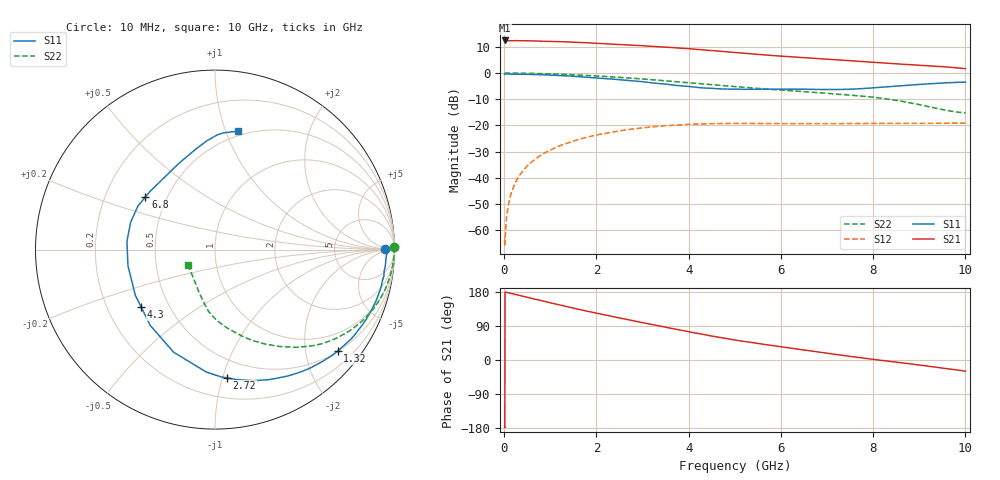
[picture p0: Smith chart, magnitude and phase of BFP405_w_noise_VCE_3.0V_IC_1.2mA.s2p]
! Infineon Technologies  Discrete & RF Semiconductors
! BFP405
! VCE =  3.0 V,  IC =  1.2 mA
! Common Emitter S-Parameters:  Jan 2016
# GHz  S  MA  R  50
!  f  S11  S21  S12  S22
! GHz  MAG  ANG  MAG  ANG  MAG  ANG  MAG  ANG
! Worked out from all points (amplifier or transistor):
!   233 points, 10 MHz to 10 GHz, reference 50 ohm
!   highest |S21| = 12.4 dB at 10 MHz (marker M1)
!   |S21| within 3 dB of that: start of sweep to 3.871 GHz
!   unconditionally stable (mu >= 1): 5.059 GHz to end of sweep
!   at 200 MHz: K = 0.02, MSG = 28.0 dB, |S12| = -43.6 dB
!   at 1.74 GHz: K = 0.22, MSG = 18.2 dB, |S12| = -24.7 dB
!   at 10 GHz: K = 1.93, MAG = 4.8 dB, |S12| = -19.1 dB
!   lowest NFmin = 0.75 dB at 900 MHz
!   S11 on the Smith chart (normalised r, x): 10 MHz: 37, +1; 1.32 GHz: 0.51, -2.69; 2.72 GHz: 0.35, -1.04; 4.3 GHz: 0.35, -0.31; 6.8 GHz: 0.38, +0.29; 10 GHz: 0.46, +1.11
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0.01  0.9477 0.1  4.178 -176.9  0.0007 -1.9  1 0.7
0.015  0.9535 -0.1  4.143 -178.9  0.0005 29.6  0.9976 0.5
0.02  0.9594 -0.3  4.114 179.1  0.0006 67.2  0.9953 0.2
0.025  0.9589 -0.5  4.111 179.1  0.0008 75.1  0.9958 0.1
0.055  0.9561 -1.6  4.097 178.6  0.0019 89.0  0.9984 -0.6
0.12  0.9537 -3.5  4.125 176.4  0.004 88.0  0.998 -1.9
0.32  0.9508 -9.5  4.122 170.8  0.0108 85.1  0.9947 -5.0
0.8  0.9298 -23.9  4.072 156.8  0.0273 77.4  0.9753 -12.7
1.32  0.8867 -39.6  3.935 141.9  0.0448 68.1  0.9409 -20.8
1.68  0.8474 -50.9  3.816 132.0  0.0562 61.6  0.91 -26.0
2.2  0.7846 -67.5  3.617 118.5  0.0712 52.4  0.8592 -33.2
2.72  0.7181 -84.6  3.418 105.5  0.0843 43.4  0.8029 -40.2
3.4  0.625 -108.1  3.155 88.9  0.0973 31.8  0.7213 -48.8
4  0.5555 -130.5  2.915 74.4  0.1051 22.5  0.6499 -56.2
4.3  0.5214 -142.0  2.768 67.9  0.1069 18.2  0.6168 -59.6
4.5  0.5115 -150.3  2.692 63.2  0.1085 15.4  0.5961 -62.0
5.1  0.4902 -172.6  2.424 51.0  0.1095 8.3  0.5403 -68.4
6  0.4941 162.1  2.102 34.9  0.1085 0.4  0.4735 -76.5
6.8  0.4861 143.0  1.883 21.3  0.1082 -4.5  0.422 -84.0
7.6  0.4956 122.4  1.686 8.0  0.109 -8.8  0.3729 -91.7
8.4  0.5542 104.0  1.517 -4.2  0.1096 -12.9  0.3109 -100.6
10  0.6726 78.9  1.212 -29.4  0.111 -18.7  0.1738 -149.5
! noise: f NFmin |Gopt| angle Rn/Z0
0.9  0.75  0.69  15  0.52
1.8  1.17  0.55  31  0.46
2.4  1.43  0.45  42  0.42
3  1.52  0.46  56  0.39
4  1.76  0.33  84  0.29
5  2.09  0.3  121  0.2
